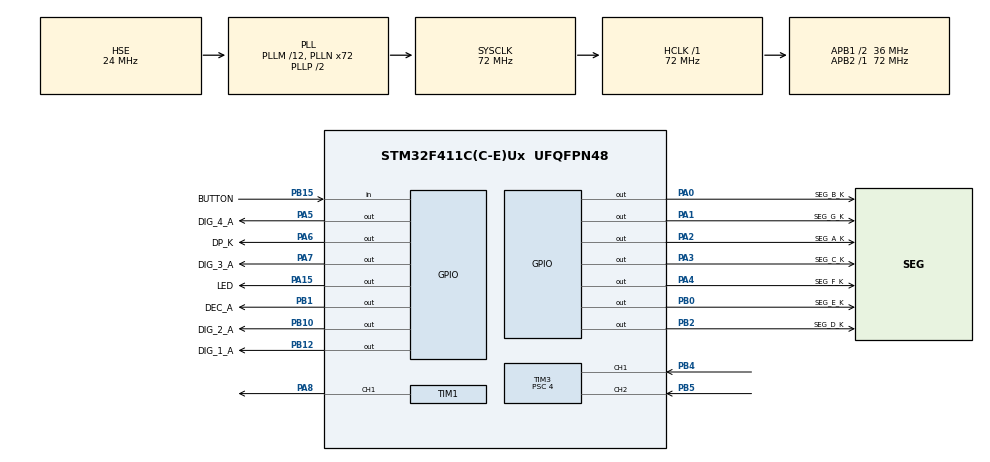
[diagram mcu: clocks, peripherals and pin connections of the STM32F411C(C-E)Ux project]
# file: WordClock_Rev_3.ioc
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Dma.Request0=TIM1_CH1
Dma.TIM1_CH1.0.Direction=DMA_MEMORY_TO_PERIPH
Dma.TIM1_CH1.0.FIFOMode=DMA_FIFOMODE_DISABLE
Dma.TIM1_CH1.0.Instance=DMA2_Stream1
Dma.TIM1_CH1.0.MemDataAlignment=DMA_MDATAALIGN_HALFWORD
Dma.TIM1_CH1.0.MemInc=DMA_MINC_ENABLE
Dma.TIM1_CH1.0.Mode=DMA_NORMAL
Dma.TIM1_CH1.0.PeriphDataAlignment=DMA_PDATAALIGN_HALFWORD
Dma.TIM1_CH1.0.PeriphInc=DMA_PINC_DISABLE
Dma.TIM1_CH1.0.Priority=DMA_PRIORITY_LOW
Mcu.Family=STM32F4
Mcu.Name=STM32F411C(C-E)Ux
Mcu.Package=UFQFPN48
NVIC.DMA2_Stream1_IRQn=true\:8\:0\:true\:false\:true\:false\:true\:true
NVIC.PriorityGroup=NVIC_PRIORITYGROUP_4
NVIC.TIM3_IRQn=true\:9\:0\:true\:false\:true\:true\:true\:true
PA0-WKUP.GPIO_Label=SEG_B_K
PA0-WKUP.Signal=GPIO_Output
PA1.GPIO_Label=SEG_G_K
PA1.Signal=GPIO_Output
PA15.GPIO_Label=LED
PA15.Signal=GPIO_Output
PA2.GPIO_Label=SEG_A_K
PA2.Signal=GPIO_Output
PA3.GPIO_Label=SEG_C_K
PA3.Signal=GPIO_Output
PA4.GPIO_Label=SEG_F_K
PA4.Signal=GPIO_Output
PA5.GPIO_Label=DIG_4_A
PA5.Signal=GPIO_Output
PA6.GPIO_Label=DP_K
PA6.Signal=GPIO_Output
PA7.GPIO_Label=DIG_3_A
PA7.Signal=GPIO_Output
PA8.Signal=S_TIM1_CH1
PB0.GPIO_Label=SEG_E_K
PB0.Signal=GPIO_Output
PB1.GPIO_Label=DEC_A
PB1.Signal=GPIO_Output
PB10.GPIO_Label=DIG_2_A
PB10.Signal=GPIO_Output
PB12.GPIO_Label=DIG_1_A
PB12.Signal=GPIO_Output
PB15.GPIO_Label=BUTTON
PB15.GPIO_PuPd=GPIO_PULLUP
PB15.Signal=GPIO_Input
PB2.GPIO_Label=SEG_D_K
PB2.Signal=GPIO_Output
PB4.Signal=S_TIM3_CH1
PB5.Signal=S_TIM3_CH2
PC14-OSC32_IN.Mode=LSE-External-Oscillator
PC14-OSC32_IN.Signal=RCC_OSC32_IN
PC15-OSC32_OUT.Mode=LSE-External-Oscillator
PC15-OSC32_OUT.Signal=RCC_OSC32_OUT
PH0\ -\ OSC_IN.Mode=HSE-External-Oscillator
PH0\ -\ OSC_IN.Signal=RCC_OSC_IN
PH1\ -\ OSC_OUT.Mode=HSE-External-Oscillator
PH1\ -\ OSC_OUT.Signal=RCC_OSC_OUT
ProjectManager.HeapSize=0x400
ProjectManager.StackSize=0x10000
ProjectManager.TargetToolchain=STM32CubeIDE
RCC.48MHZClocksFreq_Value=36000000
RCC.AHBFreq_Value=72000000
RCC.APB1CLKDivider=RCC_HCLK_DIV2
RCC.APB1Freq_Value=36000000
RCC.APB1TimFreq_Value=72000000
RCC.APB2Freq_Value=72000000
RCC.APB2TimFreq_Value=72000000
RCC.CortexFreq_Value=72000000
RCC.HCLKFreq_Value=72000000
RCC.HSE_VALUE=24000000
RCC.HSI_VALUE=16000000
RCC.PLLM=12
RCC.PLLN=72
RCC.PLLSourceVirtual=RCC_PLLSOURCE_HSE
RCC.RCC_RTC_Clock_SourceVirtual=RCC_RTCCLKSOURCE_LSE
RCC.SYSCLKFreq_VALUE=72000000
RCC.SYSCLKSource=RCC_SYSCLKSOURCE_PLLCLK
RCC.VCOOutputFreq_Value=144000000
RTC.Hours=3
RTC.Minutes=59
RTC.Seconds=50
SH.S_TIM1_CH1.0=TIM1_CH1,PWM Generation1 CH1
SH.S_TIM3_CH1.0=TIM3_CH1,Encoder_Interface
SH.S_TIM3_CH2.0=TIM3_CH2,Encoder_Interface
TIM1.Channel-PWM\ Generation1\ CH1=TIM_CHANNEL_1
TIM1.Period=90-1
TIM3.EncoderMode=TIM_ENCODERMODE_TI12
TIM3.IC1Polarity=TIM_ICPOLARITY_FALLING
TIM3.IC2Polarity=TIM_ICPOLARITY_FALLING
TIM3.Prescaler=4
VP_RTC_VS_RTC_Activate.Mode=RTC_Enabled
VP_RTC_VS_RTC_Calendar.Mode=RTC_Calendar
VP_TIM1_VS_ClockSourceINT.Mode=Internal
board=custom

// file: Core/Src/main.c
/* USER CODE BEGIN Header */
/**
  ******************************************************************************
  * @file           : main.c
  * @brief          : Main program body
  ******************************************************************************
  * @attention
  *
  * Copyright (c) 2024 STMicroelectronics.
  * All rights reserved.
  *
  * This software is licensed under terms that can be found in the LICENSE file
  * in the root directory of this software component.
  * If no LICENSE file comes with this software, it is provided AS-IS.
  *
  ******************************************************************************
  */
/* USER CODE END Header */
#include "main.h"

/* USER CODE BEGIN Includes */
#include <stdint.h>
#include <math.h>
#include <numeric_display.h>
#include <string.h>
#include <stdio.h>
#include <stdbool.h>
#include <string.h>
#include "color.h"
#include "time_display.h"
#include "flicker.h"
#include "button.h"
#include "menu.h"
#include "settings.h"
#include "rainbow.h"
#include "twinkle.h"
#include "blink.h"
#include "constant.h"
/* USER CODE END Includes */

RTC_HandleTypeDef hrtc;

TIM_HandleTypeDef htim1;
TIM_HandleTypeDef htim3;
DMA_HandleTypeDef hdma_tim1_ch1;

/* USER CODE BEGIN PV */

RTC_TimeTypeDef sTime;
RTC_DateTypeDef sDate = {0, 0, 0, 24};
RTC_DateTypeDef aDate = {0, 0, 0, 99};
RTC_DateTypeDef bDate = {0, 0, 0, 99};

uint32_t lastTick = 0;

/* USER CODE END PV */

void SystemClock_Config(void);
static void MX_GPIO_Init(void);
static void MX_DMA_Init(void);
static void MX_TIM1_Init(void);
static void MX_TIM3_Init(void);
static void MX_RTC_Init(void);
/* USER CODE BEGIN PFP */
void HAL_GPIO_EXTI_Callback(uint16_t GPIO_Pin);
/* USER CODE END PFP */

int main(void)
{

  /* MCU Configuration--------------------------------------------------------*/

  /* Reset of all peripherals, Initializes the Flash interface and the Systick. */
  HAL_Init();

  /* Configure the system clock */
  SystemClock_Config();

  /* Initialize all configured peripherals */
  MX_GPIO_Init();
  MX_DMA_Init();
  MX_TIM1_Init();
  MX_TIM3_Init();
  MX_RTC_Init();
  /* USER CODE BEGIN 2 */
  HAL_TIM_Encoder_Start(&htim3, TIM_CHANNEL_ALL); // Start the encoder interface
  setColorWithPreset(0);
  /* USER CODE END 2 */

  /* Infinite loop */
  while (1)
  {

    /* USER CODE BEGIN 3 */

	if(checkButtonPress()){
		switchState();
	}

	// get time and get date must both be called
	HAL_RTC_GetTime(&hrtc, &sTime, RTC_FORMAT_BIN);
	HAL_RTC_GetDate(&hrtc, &sDate, RTC_FORMAT_BIN);

	configureSettings();

	Segment_Display(getDisplayString());

	flicker(sTime);
	rainbow(sTime);
	blink();
	constant();
	updateDisplayColor();

	sendDisplayToDMA();

  }
  /* USER CODE END 3 */
}

void SystemClock_Config(void)
{
  RCC_OscInitTypeDef RCC_OscInitStruct = {0};
  RCC_ClkInitTypeDef RCC_ClkInitStruct = {0};

  /** Configure the main internal regulator output voltage
  */
  __HAL_RCC_PWR_CLK_ENABLE();
  __HAL_PWR_VOLTAGESCALING_CONFIG(PWR_REGULATOR_VOLTAGE_SCALE1);

  /** Initializes the RCC Oscillators according to the specified parameters
  * in the RCC_OscInitTypeDef structure.
  */
  RCC_OscInitStruct.OscillatorType = RCC_OSCILLATORTYPE_HSE|RCC_OSCILLATORTYPE_LSE;
  RCC_OscInitStruct.HSEState = RCC_HSE_ON;
  RCC_OscInitStruct.LSEState = RCC_LSE_ON;
  RCC_OscInitStruct.PLL.PLLState = RCC_PLL_ON;
  RCC_OscInitStruct.PLL.PLLSource = RCC_PLLSOURCE_HSE;
  RCC_OscInitStruct.PLL.PLLM = 12;
  RCC_OscInitStruct.PLL.PLLN = 72;
  RCC_OscInitStruct.PLL.PLLP = RCC_PLLP_DIV2;
  RCC_OscInitStruct.PLL.PLLQ = 4;
  if (HAL_RCC_OscConfig(&RCC_OscInitStruct) != HAL_OK)
  {
    Error_Handler();
  }

  /** Initializes the CPU, AHB and APB buses clocks
  */
  RCC_ClkInitStruct.ClockType = RCC_CLOCKTYPE_HCLK|RCC_CLOCKTYPE_SYSCLK
                              |RCC_CLOCKTYPE_PCLK1|RCC_CLOCKTYPE_PCLK2;
  RCC_ClkInitStruct.SYSCLKSource = RCC_SYSCLKSOURCE_PLLCLK;
  RCC_ClkInitStruct.AHBCLKDivider = RCC_SYSCLK_DIV1;
  RCC_ClkInitStruct.APB1CLKDivider = RCC_HCLK_DIV2;
  RCC_ClkInitStruct.APB2CLKDivider = RCC_HCLK_DIV1;

  if (HAL_RCC_ClockConfig(&RCC_ClkInitStruct, FLASH_LATENCY_2) != HAL_OK)
  {
    Error_Handler();
  }
}

static void MX_RTC_Init(void)
{

  RTC_TimeTypeDef sTime = {0};
  RTC_DateTypeDef sDate = {0};

  /** Initialize RTC Only
  */
  hrtc.Instance = RTC;
  hrtc.Init.HourFormat = RTC_HOURFORMAT_24;
  hrtc.Init.AsynchPrediv = 127;
  hrtc.Init.SynchPrediv = 255;
  hrtc.Init.OutPut = RTC_OUTPUT_DISABLE;
  hrtc.Init.OutPutPolarity = RTC_OUTPUT_POLARITY_HIGH;
  hrtc.Init.OutPutType = RTC_OUTPUT_TYPE_OPENDRAIN;
  if (HAL_RTC_Init(&hrtc) != HAL_OK)
  {
    Error_Handler();
  }

  /** Initialize RTC and set the Time and Date
  */
  sTime.Hours = 0x3;
  sTime.Minutes = 0x59;
  sTime.Seconds = 0x50;
  sTime.DayLightSaving = RTC_DAYLIGHTSAVING_NONE;
  sTime.StoreOperation = RTC_STOREOPERATION_RESET;
  if (HAL_RTC_SetTime(&hrtc, &sTime, RTC_FORMAT_BCD) != HAL_OK)
  {
    Error_Handler();
  }
  sDate.WeekDay = RTC_WEEKDAY_MONDAY;
  sDate.Month = RTC_MONTH_JANUARY;
  sDate.Date = 0x1;
  sDate.Year = 0x0;

  if (HAL_RTC_SetDate(&hrtc, &sDate, RTC_FORMAT_BCD) != HAL_OK)
  {
    Error_Handler();
  }

}

static void MX_TIM1_Init(void)
{

  TIM_ClockConfigTypeDef sClockSourceConfig = {0};
  TIM_MasterConfigTypeDef sMasterConfig = {0};
  TIM_OC_InitTypeDef sConfigOC = {0};
  TIM_BreakDeadTimeConfigTypeDef sBreakDeadTimeConfig = {0};

  htim1.Instance = TIM1;
  htim1.Init.Prescaler = 0;
  htim1.Init.CounterMode = TIM_COUNTERMODE_UP;
  htim1.Init.Period = 90-1;
  htim1.Init.ClockDivision = TIM_CLOCKDIVISION_DIV1;
  htim1.Init.RepetitionCounter = 0;
  htim1.Init.AutoReloadPreload = TIM_AUTORELOAD_PRELOAD_DISABLE;
  if (HAL_TIM_Base_Init(&htim1) != HAL_OK)
  {
    Error_Handler();
  }
  sClockSourceConfig.ClockSource = TIM_CLOCKSOURCE_INTERNAL;
  if (HAL_TIM_ConfigClockSource(&htim1, &sClockSourceConfig) != HAL_OK)
  {
    Error_Handler();
  }
  if (HAL_TIM_PWM_Init(&htim1) != HAL_OK)
  {
    Error_Handler();
  }
  sMasterConfig.MasterOutputTrigger = TIM_TRGO_RESET;
  sMasterConfig.MasterSlaveMode = TIM_MASTERSLAVEMODE_DISABLE;
  if (HAL_TIMEx_MasterConfigSynchronization(&htim1, &sMasterConfig) != HAL_OK)
  {
    Error_Handler();
  }
  sConfigOC.OCMode = TIM_OCMODE_PWM1;
  sConfigOC.Pulse = 0;
  sConfigOC.OCPolarity = TIM_OCPOLARITY_HIGH;
  sConfigOC.OCNPolarity = TIM_OCNPOLARITY_HIGH;
  sConfigOC.OCFastMode = TIM_OCFAST_DISABLE;
  sConfigOC.OCIdleState = TIM_OCIDLESTATE_RESET;
  sConfigOC.OCNIdleState = TIM_OCNIDLESTATE_RESET;
  if (HAL_TIM_PWM_ConfigChannel(&htim1, &sConfigOC, TIM_CHANNEL_1) != HAL_OK)
  {
    Error_Handler();
  }
  sBreakDeadTimeConfig.OffStateRunMode = TIM_OSSR_DISABLE;
  sBreakDeadTimeConfig.OffStateIDLEMode = TIM_OSSI_DISABLE;
  sBreakDeadTimeConfig.LockLevel = TIM_LOCKLEVEL_OFF;
  sBreakDeadTimeConfig.DeadTime = 0;
  sBreakDeadTimeConfig.BreakState = TIM_BREAK_DISABLE;
  sBreakDeadTimeConfig.BreakPolarity = TIM_BREAKPOLARITY_HIGH;
  sBreakDeadTimeConfig.AutomaticOutput = TIM_AUTOMATICOUTPUT_DISABLE;
  if (HAL_TIMEx_ConfigBreakDeadTime(&htim1, &sBreakDeadTimeConfig) != HAL_OK)
  {
    Error_Handler();
  }
  HAL_TIM_MspPostInit(&htim1);

}

static void MX_TIM3_Init(void)
{

  TIM_Encoder_InitTypeDef sConfig = {0};
  TIM_MasterConfigTypeDef sMasterConfig = {0};

  htim3.Instance = TIM3;
  htim3.Init.Prescaler = 4;
  htim3.Init.CounterMode = TIM_COUNTERMODE_UP;
  htim3.Init.Period = 65535;
  htim3.Init.ClockDivision = TIM_CLOCKDIVISION_DIV1;
  htim3.Init.AutoReloadPreload = TIM_AUTORELOAD_PRELOAD_DISABLE;
  sConfig.EncoderMode = TIM_ENCODERMODE_TI12;
  sConfig.IC1Polarity = TIM_ICPOLARITY_FALLING;
  sConfig.IC1Selection = TIM_ICSELECTION_DIRECTTI;
  sConfig.IC1Prescaler = TIM_ICPSC_DIV1;
  sConfig.IC1Filter = 0;
  sConfig.IC2Polarity = TIM_ICPOLARITY_FALLING;
  sConfig.IC2Selection = TIM_ICSELECTION_DIRECTTI;
  sConfig.IC2Prescaler = TIM_ICPSC_DIV1;
  sConfig.IC2Filter = 0;
  if (HAL_TIM_Encoder_Init(&htim3, &sConfig) != HAL_OK)
  {
    Error_Handler();
  }
  sMasterConfig.MasterOutputTrigger = TIM_TRGO_RESET;
  sMasterConfig.MasterSlaveMode = TIM_MASTERSLAVEMODE_DISABLE;
  if (HAL_TIMEx_MasterConfigSynchronization(&htim3, &sMasterConfig) != HAL_OK)
  {
    Error_Handler();
  }

}

static void MX_DMA_Init(void)
{

  /* DMA controller clock enable */
  __HAL_RCC_DMA2_CLK_ENABLE();

  /* DMA interrupt init */
  /* DMA2_Stream1_IRQn interrupt configuration */
  HAL_NVIC_SetPriority(DMA2_Stream1_IRQn, 8, 0);
  HAL_NVIC_EnableIRQ(DMA2_Stream1_IRQn);

}

static void MX_GPIO_Init(void)
{
  GPIO_InitTypeDef GPIO_InitStruct = {0};

  /* GPIO Ports Clock Enable */
  __HAL_RCC_GPIOC_CLK_ENABLE();
  __HAL_RCC_GPIOH_CLK_ENABLE();
  __HAL_RCC_GPIOA_CLK_ENABLE();
  __HAL_RCC_GPIOB_CLK_ENABLE();

  /*Configure GPIO pin Output Level */
  HAL_GPIO_WritePin(GPIOA, SEG_B_K_Pin|SEG_G_K_Pin|SEG_A_K_Pin|SEG_C_K_Pin
                          |SEG_F_K_Pin|DIG_4_A_Pin|DP_K_Pin|DIG_3_A_Pin
                          |LED_Pin, GPIO_PIN_RESET);

  /*Configure GPIO pin Output Level */
  HAL_GPIO_WritePin(GPIOB, SEG_E_K_Pin|DEC_A_Pin|SEG_D_K_Pin|DIG_2_A_Pin
                          |DIG_1_A_Pin, GPIO_PIN_RESET);

  /*Configure GPIO pins : SEG_B_K_Pin SEG_G_K_Pin SEG_A_K_Pin SEG_C_K_Pin
                           SEG_F_K_Pin DIG_4_A_Pin DP_K_Pin DIG_3_A_Pin
                           LED_Pin */
  GPIO_InitStruct.Pin = SEG_B_K_Pin|SEG_G_K_Pin|SEG_A_K_Pin|SEG_C_K_Pin
                          |SEG_F_K_Pin|DIG_4_A_Pin|DP_K_Pin|DIG_3_A_Pin
                          |LED_Pin;
  GPIO_InitStruct.Mode = GPIO_MODE_OUTPUT_PP;
  GPIO_InitStruct.Pull = GPIO_NOPULL;
  GPIO_InitStruct.Speed = GPIO_SPEED_FREQ_LOW;
  HAL_GPIO_Init(GPIOA, &GPIO_InitStruct);

  /*Configure GPIO pins : SEG_E_K_Pin DEC_A_Pin SEG_D_K_Pin DIG_2_A_Pin
                           DIG_1_A_Pin */
  GPIO_InitStruct.Pin = SEG_E_K_Pin|DEC_A_Pin|SEG_D_K_Pin|DIG_2_A_Pin
                          |DIG_1_A_Pin;
  GPIO_InitStruct.Mode = GPIO_MODE_OUTPUT_PP;
  GPIO_InitStruct.Pull = GPIO_NOPULL;
  GPIO_InitStruct.Speed = GPIO_SPEED_FREQ_LOW;
  HAL_GPIO_Init(GPIOB, &GPIO_InitStruct);

  /*Configure GPIO pin : BUTTON_Pin */
  GPIO_InitStruct.Pin = BUTTON_Pin;
  GPIO_InitStruct.Mode = GPIO_MODE_INPUT;
  GPIO_InitStruct.Pull = GPIO_PULLUP;
  HAL_GPIO_Init(BUTTON_GPIO_Port, &GPIO_InitStruct);

}

void Error_Handler(void)
{
  __disable_irq();
  while (1)
  {
  }
}
